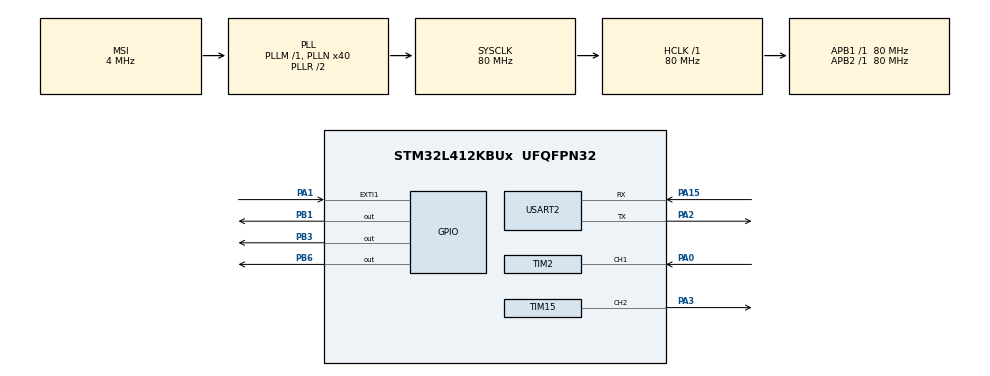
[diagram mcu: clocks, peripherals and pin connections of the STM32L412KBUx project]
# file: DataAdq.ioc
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Mcu.Family=STM32L4
Mcu.Name=STM32L412KBUx
Mcu.Package=UFQFPN32
NVIC.EXTI1_IRQn=true\:0\:0\:false\:false\:true\:true\:true
NVIC.PriorityGroup=NVIC_PRIORITYGROUP_4
NVIC.TIM6_IRQn=true\:0\:0\:false\:false\:true\:true\:true
PA0-CK_IN.Signal=S_TIM2_CH1
PA1.GPIO_ModeDefaultEXTI=GPIO_MODE_IT_FALLING
PA1.Signal=GPXTI1
PA15\ (JTDI).Mode=Asynchronous
PA15\ (JTDI).Signal=USART2_RX
PA2.Mode=Asynchronous
PA2.Signal=USART2_TX
PA3.Signal=S_TIM15_CH2
PB1.Signal=GPIO_Output
PB3\ (JTDO/TRACESWO).Signal=GPIO_Output
PB6.Signal=GPIO_Output
ProjectManager.HeapSize=0x200
ProjectManager.StackSize=0x400
ProjectManager.TargetToolchain=MDK-ARM V5.32
RCC.ADCFreq_Value=80000000
RCC.AHBFreq_Value=80000000
RCC.APB1Freq_Value=80000000
RCC.APB1TimFreq_Value=80000000
RCC.APB2Freq_Value=80000000
RCC.APB2TimFreq_Value=80000000
RCC.CortexFreq_Value=80000000
RCC.HCLKFreq_Value=80000000
RCC.HSE_VALUE=8000000
RCC.HSI48_VALUE=48000000
RCC.HSI_VALUE=16000000
RCC.LSE_VALUE=32768
RCC.MSI_VALUE=4000000
RCC.PLLN=40
RCC.SYSCLKFreq_VALUE=80000000
RCC.SYSCLKSource=RCC_SYSCLKSOURCE_PLLCLK
RCC.USBFreq_Value=4000000
RCC.VCOOutputFreq_Value=160000000
SH.S_TIM15_CH2.0=TIM15_CH2,PWM Generation2 CH2
SH.S_TIM2_CH1.0=TIM2_CH1,TriggerSource_TI1FP1
TIM15.Channel-PWM\ Generation2\ CH2=TIM_CHANNEL_2
TIM15.Period=400-1
TIM15.Prescaler=8-1
TIM6.Period=4000-1
TIM6.Prescaler=80-1
USART2.VirtualMode-Asynchronous=VM_ASYNC
VP_TIM2_VS_ControllerModeClock.Mode=Clock Mode
VP_TIM6_VS_ClockSourceINT.Mode=Enable_Timer
board=custom

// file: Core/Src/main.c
/* USER CODE BEGIN Header */
/**
  ******************************************************************************
  * @file           : main.c
  * @brief          : Main program body
  ******************************************************************************
  * @attention
  *
  * <h2><center>&copy; Copyright (c) 2021 STMicroelectronics.
  * All rights reserved.</center></h2>
  *
  * This software component is licensed by ST under BSD 3-Clause license,
  * the "License"; You may not use this file except in compliance with the
  * License. You may obtain a copy of the License at:
  *                        opensource.org/licenses/BSD-3-Clause
  *
  ******************************************************************************
  */
/* USER CODE END Header */
#include "main.h"
#include "tim.h"
#include "usart.h"
#include "gpio.h"

/* USER CODE BEGIN Includes */
#include <stdio.h>
/* USER CODE END Includes */

/* USER CODE BEGIN PM */
#define S						120									//cantidad de pulsos por vuelta
#define Ts					4E-3								//tiempo de muestreo
#define MUESTRAS		500									//numero de muestras
#define UK					8.36
/* USER CODE END PM */

/* USER CODE BEGIN PV */
uint16_t 	count = 1;												//contador de muestras
uint32_t 	pulse;												//pulsos del encoder
float			rpm;													//RPM
float 		radS;													//velocidad en rad/s
float 		Uc[MUESTRAS];
float			Yp[MUESTRAS];
/* USER CODE END PV */

void SystemClock_Config(void);

int main(void)
{

  /* MCU Configuration--------------------------------------------------------*/

  /* Reset of all peripherals, Initializes the Flash interface and the Systick. */
  HAL_Init();

  /* Configure the system clock */
  SystemClock_Config();

  /* Initialize all configured peripherals */
  MX_GPIO_Init();
  MX_TIM2_Init();
  MX_TIM6_Init();
  MX_TIM15_Init();
  MX_USART2_UART_Init();
  /* USER CODE BEGIN 2 */
	HAL_GPIO_WritePin(GPIOB, GPIO_PIN_1, GPIO_PIN_SET);
  HAL_GPIO_WritePin(GPIOB, GPIO_PIN_6, GPIO_PIN_RESET);
  HAL_TIM_PWM_Start(&htim15, TIM_CHANNEL_2);		//salida PWM
  /* USER CODE END 2 */

  /* Infinite loop */
  while (1)
  {

  }
}

void SystemClock_Config(void)
{
  RCC_OscInitTypeDef RCC_OscInitStruct = {0};
  RCC_ClkInitTypeDef RCC_ClkInitStruct = {0};

  /** Configure the main internal regulator output voltage
  */
  if (HAL_PWREx_ControlVoltageScaling(PWR_REGULATOR_VOLTAGE_SCALE1) != HAL_OK)
  {
    Error_Handler();
  }
  /** Initializes the RCC Oscillators according to the specified parameters
  * in the RCC_OscInitTypeDef structure.
  */
  RCC_OscInitStruct.OscillatorType = RCC_OSCILLATORTYPE_MSI;
  RCC_OscInitStruct.MSIState = RCC_MSI_ON;
  RCC_OscInitStruct.MSICalibrationValue = 0;
  RCC_OscInitStruct.MSIClockRange = RCC_MSIRANGE_6;
  RCC_OscInitStruct.PLL.PLLState = RCC_PLL_ON;
  RCC_OscInitStruct.PLL.PLLSource = RCC_PLLSOURCE_MSI;
  RCC_OscInitStruct.PLL.PLLM = 1;
  RCC_OscInitStruct.PLL.PLLN = 40;
  RCC_OscInitStruct.PLL.PLLQ = RCC_PLLQ_DIV2;
  RCC_OscInitStruct.PLL.PLLR = RCC_PLLR_DIV2;
  if (HAL_RCC_OscConfig(&RCC_OscInitStruct) != HAL_OK)
  {
    Error_Handler();
  }
  /** Initializes the CPU, AHB and APB buses clocks
  */
  RCC_ClkInitStruct.ClockType = RCC_CLOCKTYPE_HCLK|RCC_CLOCKTYPE_SYSCLK
                              |RCC_CLOCKTYPE_PCLK1|RCC_CLOCKTYPE_PCLK2;
  RCC_ClkInitStruct.SYSCLKSource = RCC_SYSCLKSOURCE_PLLCLK;
  RCC_ClkInitStruct.AHBCLKDivider = RCC_SYSCLK_DIV1;
  RCC_ClkInitStruct.APB1CLKDivider = RCC_HCLK_DIV1;
  RCC_ClkInitStruct.APB2CLKDivider = RCC_HCLK_DIV1;

  if (HAL_RCC_ClockConfig(&RCC_ClkInitStruct, FLASH_LATENCY_4) != HAL_OK)
  {
    Error_Handler();
  }
}

/* USER CODE BEGIN 4 */
void HAL_GPIO_EXTI_Callback(uint16_t GPIO_Pin)
{
	if(GPIO_Pin == GPIO_PIN_1){
		HAL_TIM_Base_Start_IT(&htim6);										//inicia el muestreo
		HAL_TIM_Base_Start(&htim2);												//inicia el timer2 para que capture los pulsos del encoder
		__HAL_TIM_SET_COMPARE(&htim15,TIM_CHANNEL_2,399);	//duty 0%
		__HAL_TIM_SET_COUNTER(&htim2,0);									//reiniciar el conteo del timer
		Uc[0] = UK;
		Yp[0] = 0.0;
	}

	return;
}

void HAL_TIM_PeriodElapsedCallback(TIM_HandleTypeDef *htim)
{
	if(htim == &htim6){

		if(count<MUESTRAS){
/****************************************************************************/
			pulse = __HAL_TIM_GET_COUNTER(&htim2);
			rpm = pulse * 60.0 /(Ts * S);				//se calcula el RPM
			radS = rpm  *(2*3.141592)/60;				//velocidad en Rad/s
			__HAL_TIM_SET_COUNTER(&htim2,0);
/*****************************************************************************/
			Uc[count] = UK;
			Yp[count] = radS;
			count++;
		}
		else
		{
			HAL_TIM_Base_Stop_IT(&htim6);
			HAL_TIM_Base_Stop(&htim2);
			__HAL_TIM_SET_COMPARE(&htim15,TIM_CHANNEL_2,0);	//duty 0%
			count = 1;
		}
	}
	return;
}
/* USER CODE END 4 */

void Error_Handler(void)
{
  __disable_irq();
  while (1)
  {
  }
}

/************************ (C) COPYRIGHT STMicroelectronics *****END OF FILE****/
